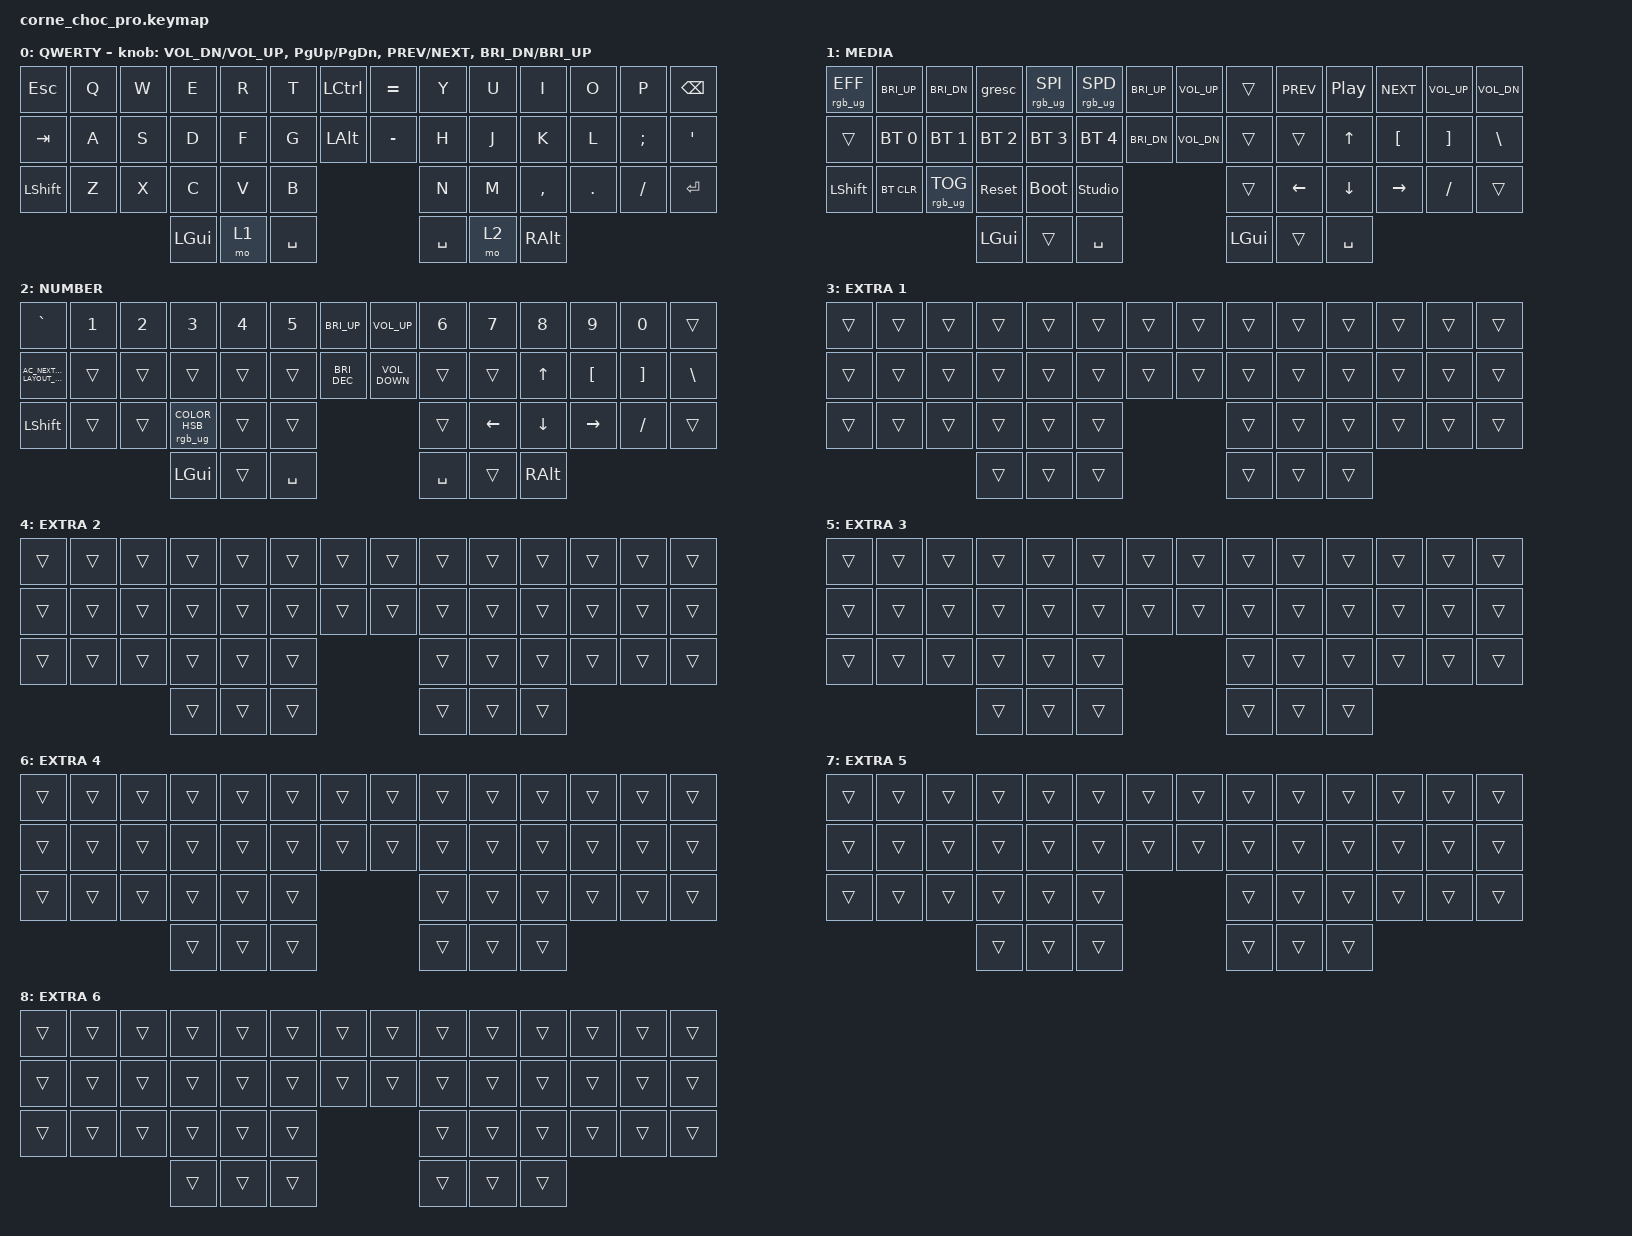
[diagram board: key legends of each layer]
/*
 * Copyright (c) 2020 The ZMK Contributors
 *
 * SPDX-License-Identifier: MIT
 */

#include <behaviors.dtsi>
#include <dt-bindings/zmk/bt.h>
#include <dt-bindings/zmk/keys.h>
#include <dt-bindings/zmk/rgb.h>

/ {
    chosen { zmk,physical-layout = &default_layout; };
};

/ {
    combos {
        compatible = "zmk,combos";

        screen_shot {
            bindings = <&kp LG(LS(N5))>;
            key-positions = <28 3 41>;
            layers = <2>;
        };
    };

    keymap {
        compatible = "zmk,keymap";

        main_layer {
            display-name = "QWERTY";

            // --------------------------------------------------------------------------------
            // |  TAB |  Q  |  W  |  E  |  R  |  T  |  MUTE |  PP   |  Y  |  U   |  I  |  O  |  P  | BSPC |
            // | CTRL |  A  |  S  |  D  |  F  |  G  |  LALT |  RALT |  H  |  J   |  K  |  L  |  ;  |  '   |
            // | SHFT |  Z  |  X  |  C  |  V  |  B  |               |  N  |  M   |  ,  |  .  |  /  | ESC  |
            //                    | GUI | LWR | SPC |               | ENT | RSE  | ALT |

            bindings = <
&kp ESC    &kp Q  &kp W  &kp E     &kp R  &kp T      &kp LEFT_CONTROL  &kp EQUAL  &kp Y      &kp U  &kp I      &kp O    &kp P     &kp BACKSPACE
&kp TAB    &kp A  &kp S  &kp D     &kp F  &kp G      &kp LALT          &kp MINUS  &kp H      &kp J  &kp K      &kp L    &kp SEMI  &kp SQT
&kp LSHFT  &kp Z  &kp X  &kp C     &kp V  &kp B                                   &kp N      &kp M  &kp COMMA  &kp DOT  &kp FSLH  &kp ENTER
                         &kp LGUI  &mo 1  &kp SPACE                               &kp SPACE  &mo 2  &kp RALT
            >;

            sensor-bindings = <&inc_dec_kp C_VOL_DN C_VOL_UP &inc_dec_kp PG_UP PG_DN &inc_dec_kp C_PREV C_NEXT &inc_dec_kp C_BRI_DN C_BRI_UP>;
        };

        left_layer {
            display-name = "MEDIA";

            // -----------------------------------------------------------------------------------------
            // |  TAB |  1  |  2  |  3  |  4  |  5    |  LCTRL | RCTRL |  6  |  7  |  8  |  9  |  0  | BSPC |
            // | CTRL | BT1 | BT2 | BT3 | BT4 | BT5   |  LALT  | RALT  | LFT | DWN |  UP | RGT |     |      |
            // | SHFT | BTCR| RGB | RST | BOOT| Unlock|        |       |     |     |     |     |     |      |
            //                    | GUI |     | SPC   |        | ENT   |     | ALT |

            bindings = <
&rgb_ug RGB_EFF  &kp C_BRI_UP  &kp C_BRI_DN     &gresc        &rgb_ug RGB_SPI  &rgb_ug RGB_SPD  &kp C_BRI_UP  &kp C_VOL_UP  &trans    &kp C_PREV      &kp C_PP        &kp C_NEXT       &kp C_VOL_UP       &kp C_VOL_DN
&trans           &bt BT_SEL 0  &bt BT_SEL 1     &bt BT_SEL 2  &bt BT_SEL 3     &bt BT_SEL 4     &kp C_BRI_DN  &kp C_VOL_DN  &trans    &trans          &kp UP          &kp LBKT         &kp RIGHT_BRACKET  &kp BSLH
&kp LEFT_SHIFT   &bt BT_CLR    &rgb_ug RGB_TOG  &sys_reset    &bootloader      &studio_unlock                               &trans    &kp LEFT_ARROW  &kp DOWN_ARROW  &kp RIGHT_ARROW  &kp FSLH           &trans
                                                &kp LGUI      &trans           &kp SPACE                                    &kp LGUI  &trans          &kp SPACE
            >;
        };

        right_layer {
            display-name = "NUMBER";

            // -----------------------------------------------------------------------------------------
            // |  TAB |  !  |  @  |  #  |  $  |  %  | LCTRL | RCTRL |  ^  |  &  |  *  |  (  |  )  | BSPC |
            // | CTRL |     |     |     |     |     |  LALT | RALT  |  -  |  =  |  [  |  ]  |  \  |  `   |
            // | SHFT |     |     |     |     |     |               |  _  |  +  |  {  |  }  | "|" |  ~   |
            //                    | GUI |     | SPC |               | ENT |     | ALT |

            bindings = <
&kp GRAVE                             &kp NUMBER_1  &kp NUMBER_2  &kp NUMBER_3                       &kp NUMBER_4  &kp N5     &kp C_BRI_UP   &kp C_VOL_UP       &kp NUMBER_6  &kp N7          &kp N8          &kp N9           &kp N0     &trans
&kp C_AC_NEXT_KEYBOARD_LAYOUT_SELECT  &trans        &trans        &trans                             &trans        &trans     &kp C_BRI_DEC  &kp K_VOLUME_DOWN  &trans        &trans          &kp UP_ARROW    &kp LBKT         &kp RBKT   &kp BSLH
&kp LSHIFT                            &trans        &trans        &rgb_ug RGB_COLOR_HSB(209,100,63)  &trans        &trans                                       &trans        &kp LEFT_ARROW  &kp DOWN_ARROW  &kp RIGHT_ARROW  &kp SLASH  &trans
                                                                  &kp LGUI                           &trans        &kp SPACE                                    &kp SPACE     &trans          &kp RALT
            >;
        };

        extra_layer_1 {
            display-name = "EXTRA 1";
            bindings = <
&trans  &trans  &trans  &trans  &trans  &trans  &trans  &trans  &trans  &trans  &trans  &trans  &trans  &trans
&trans  &trans  &trans  &trans  &trans  &trans  &trans  &trans  &trans  &trans  &trans  &trans  &trans  &trans
&trans  &trans  &trans  &trans  &trans  &trans                  &trans  &trans  &trans  &trans  &trans  &trans
                        &trans  &trans  &trans                  &trans  &trans  &trans
            >;
        };

        extra_layer_2 {
            display-name = "EXTRA 2";
            bindings = <
&trans  &trans  &trans  &trans  &trans  &trans  &trans  &trans  &trans  &trans  &trans  &trans  &trans  &trans
&trans  &trans  &trans  &trans  &trans  &trans  &trans  &trans  &trans  &trans  &trans  &trans  &trans  &trans
&trans  &trans  &trans  &trans  &trans  &trans                  &trans  &trans  &trans  &trans  &trans  &trans
                        &trans  &trans  &trans                  &trans  &trans  &trans
            >;
        };

        extra_layer_3 {
            display-name = "EXTRA 3";
            bindings = <
&trans  &trans  &trans  &trans  &trans  &trans  &trans  &trans  &trans  &trans  &trans  &trans  &trans  &trans
&trans  &trans  &trans  &trans  &trans  &trans  &trans  &trans  &trans  &trans  &trans  &trans  &trans  &trans
&trans  &trans  &trans  &trans  &trans  &trans                  &trans  &trans  &trans  &trans  &trans  &trans
                        &trans  &trans  &trans                  &trans  &trans  &trans
            >;
        };

        extra_layer_4 {
            display-name = "EXTRA 4";
            bindings = <
&trans  &trans  &trans  &trans  &trans  &trans  &trans  &trans  &trans  &trans  &trans  &trans  &trans  &trans
&trans  &trans  &trans  &trans  &trans  &trans  &trans  &trans  &trans  &trans  &trans  &trans  &trans  &trans
&trans  &trans  &trans  &trans  &trans  &trans                  &trans  &trans  &trans  &trans  &trans  &trans
                        &trans  &trans  &trans                  &trans  &trans  &trans
            >;
        };

        extra_layer_5 {
            display-name = "EXTRA 5";
            bindings = <
&trans  &trans  &trans  &trans  &trans  &trans  &trans  &trans  &trans  &trans  &trans  &trans  &trans  &trans
&trans  &trans  &trans  &trans  &trans  &trans  &trans  &trans  &trans  &trans  &trans  &trans  &trans  &trans
&trans  &trans  &trans  &trans  &trans  &trans                  &trans  &trans  &trans  &trans  &trans  &trans
                        &trans  &trans  &trans                  &trans  &trans  &trans
            >;
        };

        extra_layer_6 {
            display-name = "EXTRA 6";
            bindings = <
&trans  &trans  &trans  &trans  &trans  &trans  &trans  &trans  &trans  &trans  &trans  &trans  &trans  &trans
&trans  &trans  &trans  &trans  &trans  &trans  &trans  &trans  &trans  &trans  &trans  &trans  &trans  &trans
&trans  &trans  &trans  &trans  &trans  &trans                  &trans  &trans  &trans  &trans  &trans  &trans
                        &trans  &trans  &trans                  &trans  &trans  &trans
            >;
        };
    };
};
